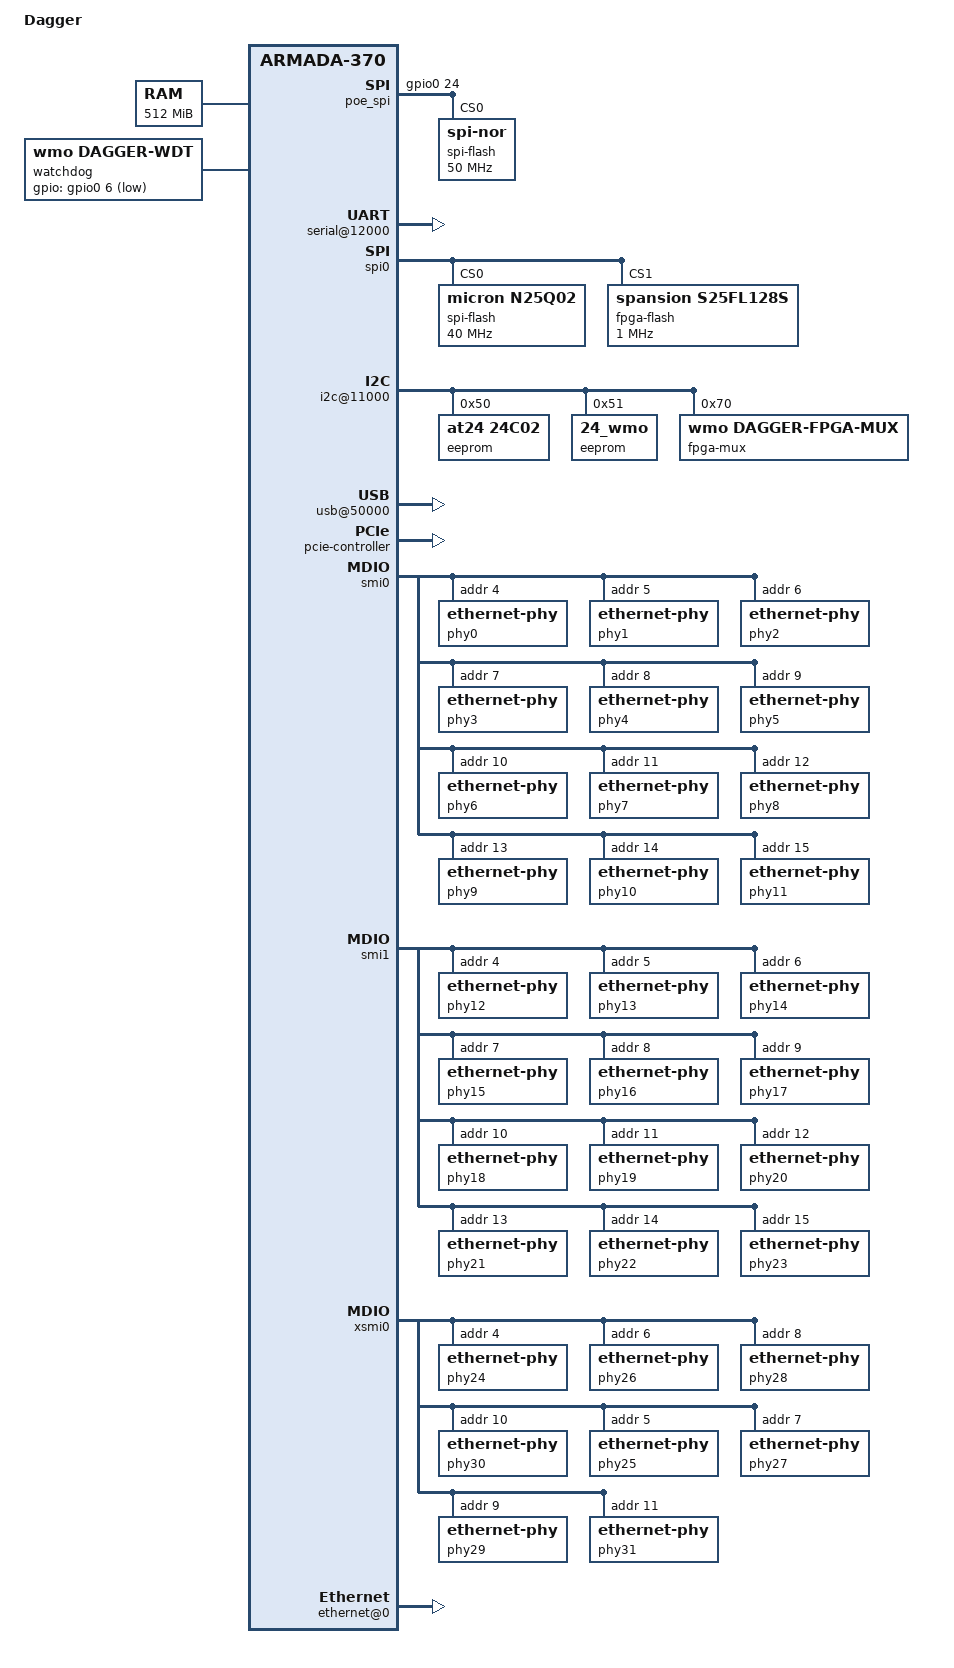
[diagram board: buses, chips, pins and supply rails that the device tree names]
/*
 * Device Tree file for Marvell xCAT 3 Reference Design board
 * (RD-FINDOUT)
 *
 *  Copied from arch/arm/boot/dts/armada-370-rd.dts
 *
 *  Copyright (C) 2014 Westermo Teleindustri AB
 *
 * This file is licensed under the terms of the GNU General Public
 * License version 2.  This program is licensed "as is" without any
 * warranty of any kind, whether express or implied.
 */

/dts-v1/;
#include <dt-bindings/input/input.h>
#include <dt-bindings/gpio/gpio.h>
#include "msys.dtsi"

#define ADDR_COMPL(_i) ((_i) << 19)


/ {
	model = "Dagger";
	compatible = "wmo,Dagger", "marvell,msys", "marvell,armada-370-xp";

	chosen {
		bootargs = "console=ttyS0,115200n8 earlyprintk";
	};

	memory {
		device_type = "memory";
		reg = <0x00000000 0x20000000>; /* 1024 MB */
	};

	soc {
		ranges =
		<MBUS_ID(0xf0, 0x01) 0 0xf1000000 0x00100000>,	/* Internal regs */
		<MBUS_ID(0x08, 0x00) 0 0xf6000000 0x00100000>,	/* DFX regs */
		<MBUS_ID(0x03, 0x00) 0 0x80000000 0x04000000>,	/* Packet processor */
		<MBUS_ID(0x01, 0x1d) 0 0xfff00000 0x00100000>,	/* BootROM */
		<MBUS_ID(0x01, 0x2f) 0 0xf0000000 0x01000000>,	/* BootCS */
		<MBUS_ID(0x01, 0x1e) 1 0xa8000000 0x08000000>,	/* SPI0, CS0 */
		<MBUS_ID(0x01, 0x5e) 0 0xd4000000 0x04000000>,	/* SPI0, CS1 */
		<MBUS_ID(0x0a, 0x00) 0 0xb0000000 0x08000000>;	/* PoE Subsystem */

		poe-bus {
			compatible = "simple-bus";
			ranges;
			#address-cells = <2>;
			#size-cells = <1>;

			/* Dragonite spi bus has 2 spi slaves. Both uses gpio cs.
			The main flash has gpio 24, cert chip has gpio 28. */
			poe_spi: spi@b4000000 {
				compatible = "wmo,drg-spi";
				reg = <MBUS_ID(0x0a, 0x00) 0x04000000 0x8000>,
				      <MBUS_ID(0x03, 0x00) 0x0000001c 0x0004>;
				clocks = <&coreclk 0>;
				spi-max-frequency = <50000000>;
				gpios = <&gpio0 24 GPIO_ACTIVE_LOW>;
				#address-cells = <1>;
				#size-cells = <0>;

				spi-flash@0 {
					#address-cells = <1>;
					#size-cells = <1>;
					compatible = "jedec,spi-nor";
					spi-max-frequency = <50000000>;
					reg = <0>; /* Chip select 0 */
					m25p,fast-read;
				};

//                 maxq1061@0 {
// 					#address-cells = <1>;
// 					#size-cells = <1>;
// 					spi-max-frequency = <1000000>;
// 					reg = <2>; /* Chip select 2 */
// 				};
			};
		};

		internal-regs {
			serial@12000 {
				status = "okay";
			};

			gpio0: gpio@18100 {
				compatible = "marvell,orion-gpio";
				reg = <0x18100 0x40>;
				ngpios = <32>;
				gpio-controller;
				#gpio-cells = <2>;
				interrupt-controller;
				#interrupt-cells = <2>;
				interrupts = <82>, <83>, <84>, <85>;
				status = "okay";

				gpio-pin@29 {
						compatible = "marvell,msys-pinctrl";
						active_status = "low";
						gpios = <&gpio0>;
						pin = <29>;
				};
			};

			spi0: spi@10600 {
				compatible = "marvell,msys-spi";
				direct-mode = <4>; /* SPI direct mode (0 = disabled, 3 or 4 = 3/4 byte addr */
				cs-gpios = <0>, <0>;
				status = "okay";

				spi-flash@0 {
					#address-cells = <1>;
					#size-cells = <1>;
  					compatible = "micron,n25q02", "jedec,spi-nor";
					spi-max-frequency = <40000000>;
					reg = <0>; /* Chip select 0 */
					m25p,fast-read;
				};
				
				fpga-flash@0 {
					#address-cells = <1>;
					#size-cells = <1>;
 					compatible = "spansion,s25fl128s", "jedec,spi-nor";
					spi-max-frequency = <1000000>;
					reg = <1>; /* Chip select 1 */
				};
			};

			i2c@11000 {
				status = "okay";

				eeprom@50 {
					compatible = "at24,24c02";
					reg = <0x50>;
				};

				eeprom@51 {
					compatible = "24_wmo";
					reg = <0x51>;
				};

				fpga-mux@70 {
					compatible = "wmo,dagger-fpga-mux";
					reg = <0x70>;
					mux-reg = <0x0c>;
					mux-val = <0x0d>;
				};
			};

			usb@50000 {
				status = "okay";
			};
		};

		/* External MAX 16002BTC+ GPIO watchdog, does not have x500 timeout */
		watchdog {
			compatible = "wmo,dagger-wdt";
			gpios = <&gpio0 6 GPIO_ACTIVE_LOW>;
			//hw_algo = "toggle";
			//hw_margin_ms = <50>;
			//always-running;
			auto-start;
		};

		pcie-controller {
			status = "okay";

			/* Internal mini-PCIe connector */
			pcie@1,0 {
				/* Port 0, Lane 0 */
				status = "okay";
			};
		};

		packet-processor {
			compatible = "marvell,xcat-3-pp";
			reg = <MBUS_ID(0x08, 0x00) 0xf800c 4>;
			controller = <&mg>;
			interrupt-parent = <&g0intc>;
			// interrupts = <8 9>; /* TxSDMA, RxSDMA */
			#address-cells = <1>;
			#size-cells = <1>;

			ranges = <0x00000000 MBUS_ID(0x03, 0x00) ADDR_COMPL(0) 0x80000
						0x07000000 MBUS_ID(0x03, 0x00) ADDR_COMPL(1) 0x80000
						0x09000000 MBUS_ID(0x03, 0x00) ADDR_COMPL(2) 0x80000
						0x12000000 MBUS_ID(0x03, 0x00) ADDR_COMPL(3) 0x80000
						0x12080000 MBUS_ID(0x03, 0x00) ADDR_COMPL(4) 0x80000
						0x13000000 MBUS_ID(0x03, 0x00) ADDR_COMPL(5) 0x80000

						/* the last window is dynamically managed by the driver */
						0x80000000 MBUS_ID(0x03, 0x00) ADDR_COMPL(7) 0x80000>;

			g0intc: xc3-global-intc@30 {
				compatible = "marvell,orion-bridge-intc";
				interrupt-controller;
				#interrupt-cells = <1>;
				reg = <0x30 0x8>;
				interrupt-parent = <&mpic>;
				interrupts = <33>;
			};

			mg: management-unit@0 {
				compatible = "marvell,xcat-3-mg";
				reg = <0 0x6b8 0x2600 0x300 0x80000000 0x80000>;
				// interrupts = <9 8>; /* Rx Tx */
			};

			serdes: serdes-unit@0 {
				compatible = "marvell,xcat-3-serdes";
				reg = <0x13000000 0x100 0x13000800 0x800>;
         };

			smi0: mdio@07004054 {
				compatible = "marvell,xcat-3-mdio";
				#address-cells = <1>;
				#size-cells = <0>;
				reg = <0x07004054 4 0x07004200 4>;
				clocks = <&gateclk 4>;
			};

			smi1: mdio@09004054 {
				compatible = "marvell,xcat-3-mdio";
				#address-cells = <1>;
				#size-cells = <0>;
				reg = <0x09004054 4 0x09004200 4>;
				clocks = <&gateclk 3>;
			};

			xsmi0: mdio@040000 {
				compatible = "marvell,xcat-3-xsmi-mdio";
				#address-cells = <1>;
				#size-cells = <0>;
				reg = <0x00040000 8>;
				clocks = <&gateclk 3>;
			};

			ethernet@0 {
				compatible = "marvell,xcat-3-gbe-mac";
				reg = <0x12000000 0x100000 0x2600 0x300>;
				phy,mii-bus = <&smi0 &smi1 &xsmi0>;
			};
		};
	};
};

&smi0 {
	/* phy0:  MARVELL_PONCAT_PHY_SFP(4, 0); */
	phy0:  ethernet-phy@4 {
		reg = <0x4>;
		/* page reg mask val_bits */
 		marvell,reg-init = <0x3 0x10 0x1 0x8881>, <0x4 0x1b 0 0x3e80>;
		led-0 = "green:link";
		led-1 = "yellow:state";
	};
	phy1:  ethernet-phy@5 {
		reg = <0x5>;
		/* page reg mask val_bits */
		marvell,reg-init = <0x3 0x10 0x1 0x8881>, <0x4 0x1b 0 0x3e80>;
		led-0 = "green:link";
		led-1 = "yellow:state";
	};
	phy2:  ethernet-phy@6 {
		reg = <0x6>;
		/* page reg mask val_bits */
		marvell,reg-init = <0x3 0x10 0x1 0x8881>, <0x4 0x1b 0 0x3e80>;
		led-0 = "green:link";
		led-1 = "yellow:state";
	};
	phy3:  ethernet-phy@7 {
		reg = <0x7>;
		/* page reg mask val_bits */
 		marvell,reg-init = <0x3 0x10 0x1 0x8881>, <0x4 0x1b 0 0x3e80>;
		led-0 = "green:link";
		led-1 = "yellow:state";
	};
	phy4:  ethernet-phy@8 {
		reg = <0x8>;
		/* page reg mask val_bits */
		marvell,reg-init = <0x3 0x10 0x1 0x8881>, <0x4 0x1b 0 0x3e80>;
		led-0 = "green:link";
		led-1 = "yellow:state";
	};
	phy5:  ethernet-phy@9 {
		reg = <0x9>;
		/* page reg mask val_bits */
		marvell,reg-init = <0x3 0x10 0x1 0x8881>, <0x4 0x1b 0 0x3e80>;
		led-0 = "green:link";
		led-1 = "yellow:state";
	};
	phy6:  ethernet-phy@a {
		reg = <0xa>;
		/* page reg mask val_bits */
		marvell,reg-init = <0x3 0x10 0x1 0x8881>, <0x4 0x1b 0 0x3e80>;
		led-0 = "green:link";
		led-1 = "yellow:state";
	};
	phy7:  ethernet-phy@b {
		reg = <0xb>;
		/* page reg mask val_bits */
		marvell,reg-init = <0x3 0x10 0x1 0x8881>, <0x4 0x1b 0 0x3e80>;
		led-0 = "green:link";
		led-1 = "yellow:state";
	};

	phy8:  ethernet-phy@c { reg = <0xc>; marvell,reg-init = <0x3 0x10 0x1 0x8881>, <0x4 0x1b 0 0x3e80>;};
	phy9:  ethernet-phy@d { reg = <0xd>; marvell,reg-init = <0x3 0x10 0x1 0x8881>, <0x4 0x1b 0 0x3e80>;};
	phy10: ethernet-phy@e { reg = <0xe>; marvell,reg-init = <0x3 0x10 0x1 0x8881>, <0x4 0x1b 0 0x3e80>;};
	phy11: ethernet-phy@f { reg = <0xf>; marvell,reg-init = <0x3 0x10 0x1 0x8881>, <0x4 0x1b 0 0x3e80>;};
};

&smi1 {
	phy12: ethernet-phy@4 { reg = <0x4>; marvell,reg-init = <0x3 0x10 0x1 0x8881>, <0x4 0x1b 0 0x3e80>;};
	phy13: ethernet-phy@5 { reg = <0x5>; marvell,reg-init = <0x3 0x10 0x1 0x8881>, <0x4 0x1b 0 0x3e80>;};
	phy14: ethernet-phy@6 { reg = <0x6>; marvell,reg-init = <0x3 0x10 0x1 0x8881>, <0x4 0x1b 0 0x3e80>;};
	phy15: ethernet-phy@7 { reg = <0x7>; marvell,reg-init = <0x3 0x10 0x1 0x8881>, <0x4 0x1b 0 0x3e80>;};

	phy16: ethernet-phy@8 { reg = <0x8>; marvell,reg-init = <0x3 0x10 0x1 0x8881>, <0x4 0x1b 0 0x3e80>;};
	phy17: ethernet-phy@9 { reg = <0x9>; marvell,reg-init = <0x3 0x10 0x1 0x8881>, <0x4 0x1b 0 0x3e80>;};
	phy18: ethernet-phy@a { reg = <0xa>; marvell,reg-init = <0x3 0x10 0x1 0x8881>, <0x4 0x1b 0 0x3e80>;};
	phy19: ethernet-phy@b { reg = <0xb>; marvell,reg-init = <0x3 0x10 0x1 0x8881>, <0x4 0x1b 0 0x3e80>;};

	phy20: ethernet-phy@c { reg = <0xc>; marvell,reg-init = <0x3 0x10 0x1 0x8881>, <0x4 0x1b 0 0x3e80>;};
	phy21: ethernet-phy@d { reg = <0xd>; marvell,reg-init = <0x3 0x10 0x1 0x8881>, <0x4 0x1b 0 0x3e80>;};
	phy22: ethernet-phy@e { reg = <0xe>; marvell,reg-init = <0x3 0x10 0x1 0x8881>, <0x4 0x1b 0 0x3e80>;};
	phy23: ethernet-phy@f { reg = <0xf>; marvell,reg-init = <0x3 0x10 0x1 0x8881>, <0x4 0x1b 0 0x3e80>;};
};

&xsmi0 {
	/*
		The phys 24, 25 are connected in pairs to create one SGMII channel. Phy24 is
		connected to the MAC on the PC3 port 24, Phy25 is connected to media side (RJ45/SFP).
		r20:p18 is setup to using mode SGMII(system) to QSGMII(media),
		the QSGMII r0:p4 is using autoneg, r27:p4 uses loopback mode and crossover between phy24 and 25.
	*/
	phy24: ethernet-phy@4 {
		reg = <0x4>;
		/* page reg mask val_bits.*/
		marvell,reg-init = <0x12 0x14 0 0x8385>, <0x4 0 0 0x9140>, <0x4 0x1b 0 0x7f83>, <0x4 0x1b 0 0x3e80>;
	};
	/* see phy24 above.*/
	phy26: ethernet-phy@6 {
		reg = <0x6>;
		/* page reg mask val_bits */
		marvell,reg-init = <0x12 0x14 0 0x8385>, <0x4 0 0 0x9140>, <0x4 0x1b 0 0x7f83>, <0x4 0x1b 0 0x3e80>;
	};
	/* see phy24 above.*/
	phy28: ethernet-phy@8 {
		reg = <0x8>;
		/* page reg mask val_bits */
		marvell,reg-init = <0x12 0x14 0 0x8385>, <0x4 0 0 0x9140>, <0x4 0x1b 0 0x7f83>, <0x4 0x1b 0 0x3e80>;
	};
	/* see phy24 above.*/
	phy30: ethernet-phy@a {
		reg = <0xa>;
		/* page reg mask val_bits */
		marvell,reg-init = <0x12 0x14 0 0x8385>, <0x4 0 0 0x9140>, <0x4 0x1b 0 0x7f83>, <0x4 0x1b 0 0x3e80>;
	};

	/*
		Phy25 is working in pairs with phy24, see above.
		r20:p18 is setup to using mode QSGMII(system mode) to auto media detect Copper/1000BASE-X.
		r16:p3 setups the LED0 to On-link blink activity off-no link all other LEDs to forced off.
	*/
	phy25: ethernet-phy@5{
		reg = <0x5>;
		/* page reg mask val_bits */
		marvell,reg-init = <0x12 0x14 0 0x8387>, <0x4 0 0 0x9140>, <0x3 0x10 0 0x8881>, <0x4 0x1b 0 0x3e80>;
	};
	/* see phy25 above.*/
	phy27: ethernet-phy@7 {
		reg = <0x7>;
		/* page reg mask val_bits */
		marvell,reg-init = <0x12 0x14 0 0x8387>, <0x4 0 0 0x9140>, <0x3 0x10 0 0x8881>, <0x4 0x1b 0 0x3e80>;
	};
	/* see phy25 above.*/
	phy29: ethernet-phy@9{
		reg = <0x9>;
		/* page reg mask val_bits */
		marvell,reg-init = <0x12 0x14 0 0x8387>, <0x4 0 0 0x9140>, <0x3 0x10 0 0x8881>, <0x4 0x1b 0 0x3e80>;
	};
	/* see phy25 above.*/
	phy31: ethernet-phy@b {
		reg = <0xb>;
		/* page reg mask val_bits */
		marvell,reg-init = <0x12 0x14 0 0x8387>, <0x4 0 0 0x9140>, <0x3 0x10 0 0x8881>, <0x4 0x1b 0 0x3e80>;
	};
};
